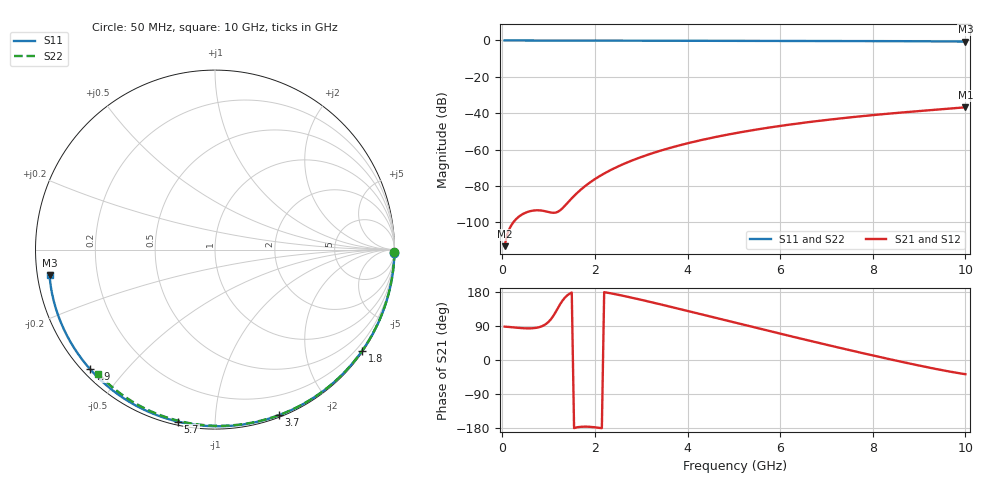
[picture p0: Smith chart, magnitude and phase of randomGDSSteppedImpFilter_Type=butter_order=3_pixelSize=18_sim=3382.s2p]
! freq	dB(S11)	phase(S11)	dB(S12)	phase(S12)
!  dB(S21)	phase(S21)	dB(S22)	phase(S22)
!S-par simulation data
#  GHz  S  DB  R 50
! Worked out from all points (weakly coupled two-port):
!   200 points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, 50 MHz to 10 GHz, reference 50 ohm
!   highest |S21| = -36.78 dB at 10 GHz (marker M1); lowest = -113.2 dB at 50 MHz (marker M2)
!   lowest |S11| = -0.6 dB at 10 GHz (marker M3), VSWR 28.87, Z = 1.74 - j3.88 ohm
!   |S11| at or under -10 dB: nowhere
!   |S22| runs from -0.4 to 0.0 dB; largest |S21 - S12| = 0
!   S11 on the Smith chart (normalised r, x): 50 MHz: open; 1.8 GHz: 0.03, -3.22; 3.7 GHz: 0.02, -1.46; 5.7 GHz: 0.02, -0.81; 7.9 GHz: 0.02, -0.40; 10 GHz: 0.03, -0.08
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0.05  -0.00 -1.0  -113.17 88.1  -113.17 88.1  -0.00 -0.8
0.45  -0.01 -8.8  -95.38 83.8  -95.38 83.8  -0.01 -6.9
0.85  -0.02 -16.5  -93.59 88.8  -93.59 88.8  -0.02 -13.0
1.3  -0.03 -25.1  -92.31 156.7  -92.31 156.7  -0.02 -19.8
1.75  -0.04 -33.6  -80.91 -175.9  -80.91 -175.9  -0.03 -26.5
1.8  -0.04 -34.5  -79.89 -175.9  -79.89 -175.9  -0.03 -27.3
2.1  -0.05 -40.1  -74.68 -179.1  -74.68 -179.1  -0.04 -31.7
2.3  -0.06 -43.8  -71.82 176.9  -71.82 176.9  -0.04 -34.7
2.5  -0.06 -47.5  -69.32 172.2  -69.32 172.2  -0.05 -37.6
2.9  -0.07 -54.7  -65.07 161.6  -65.07 161.6  -0.06 -43.4
3.4  -0.08 -63.6  -60.76 147.3  -60.76 147.3  -0.07 -50.5
3.7  -0.09 -68.8  -58.56 138.5  -58.56 138.5  -0.07 -54.7
4.35  -0.11 -80.0  -54.50 119.0  -54.50 119.0  -0.09 -63.7
5.05  -0.14 -91.6  -50.93 97.9  -50.93 97.9  -0.11 -73.1
5.7  -0.17 -102.1  -48.16 78.5  -48.16 78.5  -0.14 -81.6
6.2  -0.20 -110.0  -46.31 63.6  -46.31 63.6  -0.16 -88.0
6.7  -0.23 -117.8  -44.65 49.0  -44.65 49.0  -0.18 -94.2
7.3  -0.27 -127.1  -42.89 31.7  -42.89 31.7  -0.22 -101.6
7.9  -0.32 -136.4  -41.32 14.8  -41.32 14.8  -0.26 -108.8
8.35  -0.37 -143.4  -40.25 2.5  -40.25 2.5  -0.29 -114.1
9.2  -0.47 -157.1  -38.43 -19.7  -38.43 -19.7  -0.37 -124.0
10  -0.60 -171.1  -36.78 -37.4  -36.78 -37.4  -0.45 -133.2
